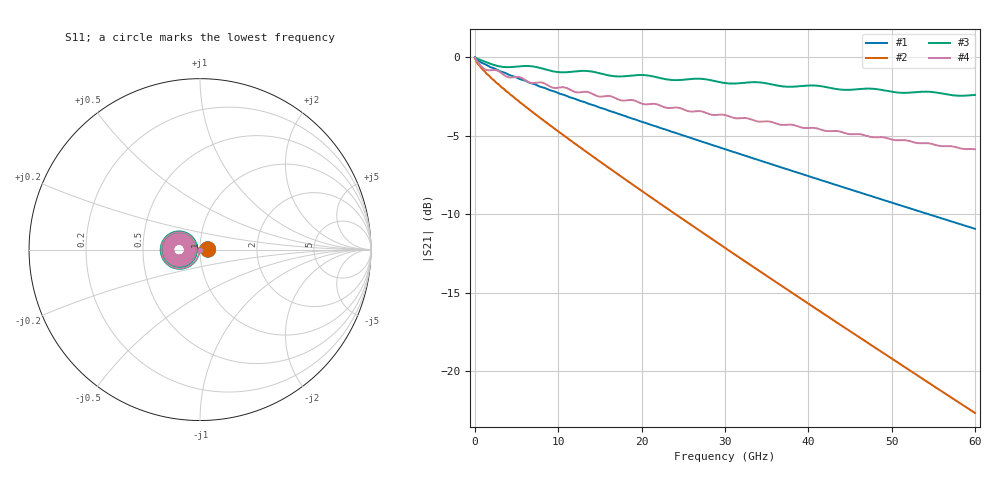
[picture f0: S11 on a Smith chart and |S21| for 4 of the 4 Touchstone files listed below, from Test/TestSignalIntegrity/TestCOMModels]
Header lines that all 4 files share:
! File created by SignalIntegrity v1.3.5: Signal and Power Integrity Tools
! https://github.com/TeledyneLeCroy/SignalIntegrity
# MHz S MA R 50.0
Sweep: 10 MHz to 60 GHz
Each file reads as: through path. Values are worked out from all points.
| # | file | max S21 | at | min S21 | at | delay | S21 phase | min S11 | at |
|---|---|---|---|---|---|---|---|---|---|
| 1 | TestCOMModelsTest_testCOMTransmissionLineModel_Host_68.s2p | -0.03 dB | 10 MHz | -10.9 dB | 60 GHz | 414 ps | -172 deg at 30.01 GHz | -51.1 dB | 10 MHz |
| 2 | TestCOMModelsTest_testCOMTransmissionLineModel_Host_141.s2p | -0.05 dB | 10 MHz | -22.6 dB | 60 GHz | 858 ps | 45 deg at 30.01 GHz | -44.8 dB | 10 MHz |
| 3 | TestCOMModelsTest_testCOMTransmissionLineModel_Package_12.s2p | -0.02 dB | 10 MHz | -2.5 dB | 58.33 GHz | 73.3 ps | -76 deg at 30.01 GHz | -55.1 dB | 10 MHz |
| 4 | TestCOMModelsTest_testCOMTransmissionLineModel_Package_30.s2p | -0.05 dB | 10 MHz | -5.9 dB | 60 GHz | 183 ps | 169 deg at 30.01 GHz | -47.2 dB | 10 MHz |
